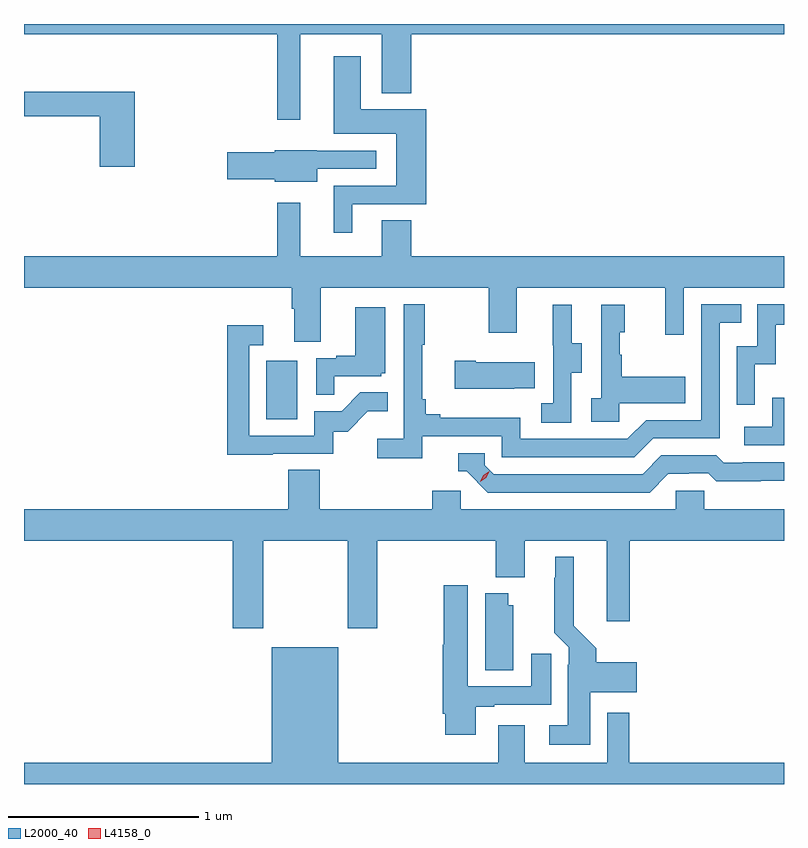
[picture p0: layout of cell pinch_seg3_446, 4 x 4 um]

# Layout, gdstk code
import gdstk
lib = gdstk.Library(unit=1e-6, precision=1e-09)
def R(c, l, rs):  # rectangles x0, y0, x1, y1
    for r in rs: c.add(gdstk.rectangle(r[:2], r[2:], *l))
def P(c, l, *ps):  # polygons
    for p in ps: c.add(gdstk.Polygon(p, *l))
L2000_40 = (2000, 40)
L4158_0 = (4158, 0)

pinch_seg3_446 = lib.new_cell('pinch_seg3_446')
R(pinch_seg3_446, L2000_40, [(948.314,685.572,948.478,685.879)])
P(pinch_seg3_446, L2000_40, [(948.493,687.596),(948.923,687.596),(948.923,687.287),(949.076,687.287),(949.076,687.596),(951.039,687.596),(951.039,687.651),(947.039,687.651),(947.039,687.596),(948.372,687.596),(948.372,687.147),(948.493,687.147)],
  [(948.766,686.703),(949.157,686.703),(949.157,687.202),(948.811,687.202),(948.811,687.481),(948.668,687.481),(948.668,687.074),(948.998,687.074),(948.998,686.799),(948.668,686.799),(948.668,686.553),(948.766,686.553)],
  [(947.621,687.295),(947.039,687.295),(947.039,687.166),(947.438,687.166),(947.438,686.901),(947.621,686.901)],
  [(948.583,686.889),(948.892,686.889),(948.892,686.985),(948.579,686.985),(948.579,686.986),(948.36,686.986),(948.36,686.975),(948.108,686.975),(948.108,686.833),(948.36,686.833),(948.36,686.822),(948.583,686.822)],
  [(948.601,686.264),(949.486,686.264),(949.486,686.025),(949.633,686.025),(949.633,686.264),(950.414,686.264),(950.414,686.016),(950.511,686.016),(950.511,686.264),(951.039,686.264),(951.039,686.428),(949.076,686.428),(949.076,686.618),(948.923,686.618),(948.923,686.428),(948.493,686.428),(948.493,686.71),(948.372,686.71),(948.372,686.428),(947.039,686.428),(947.039,686.264),(948.449,686.264),(948.449,686.152),(948.461,686.152),(948.461,685.978),(948.601,685.978)],
  [(949.136,685.482),(949.554,685.482),(949.554,685.371),(950.251,685.371),(950.35,685.47),(950.7,685.47),(950.7,686.079),(950.813,686.079),(950.813,686.175),(950.604,686.175),(950.604,685.566),(950.313,685.566),(950.214,685.467),(949.65,685.467),(949.65,685.579),(949.231,685.579),(949.231,685.598),(949.154,685.598),(949.154,685.675),(949.135,685.675),(949.135,685.963),(949.147,685.963),(949.147,686.176),(949.038,686.176),(949.038,685.468),(948.897,685.468),(948.897,685.366),(949.136,685.366)],
  [(950.886,685.859),(950.996,685.859),(950.996,686.067),(951.039,686.067),(951.039,686.175),(950.898,686.175),(950.898,685.956),(950.79,685.956),(950.79,685.647),(950.886,685.647)],
  [(949.92,685.816),(949.975,685.816),(949.975,685.971),(949.921,685.971),(949.921,686.173),(949.823,686.173),(949.823,685.959),(949.824,685.959),(949.824,685.655),(949.761,685.655),(949.761,685.552),(949.92,685.552)],
  [(950.172,685.655),(950.519,685.655),(950.519,685.795),(950.185,685.795),(950.185,685.91),(950.175,685.91),(950.175,686.028),(950.2,686.028),(950.2,686.173),(950.076,686.173),(950.076,685.682),(950.025,685.682),(950.025,685.557),(950.172,685.557)],
  [(948.671,685.797),(948.918,685.797),(948.918,685.812),(948.94,685.812),(948.94,686.161),(948.782,686.161),(948.782,685.906),(948.683,685.906),(948.683,685.893),(948.576,685.893),(948.576,685.699),(948.671,685.699)],
  [(948.347,685.389),(948.666,685.389),(948.666,685.506),(948.742,685.506),(948.849,685.613),(948.953,685.613),(948.953,685.712),(948.809,685.712),(948.711,685.614),(948.567,685.614),(948.567,685.485),(948.225,685.485),(948.225,685.959),(948.298,685.959),(948.298,686.065),(948.109,686.065),(948.109,685.384),(948.347,685.384)],
  [(949.619,685.733),(949.727,685.733),(949.727,685.87),(949.417,685.87),(949.417,685.878),(949.305,685.878),(949.305,685.73),(949.619,685.73)],
  [(951.039,685.684),(950.976,685.684),(950.976,685.53),(950.829,685.53),(950.829,685.434),(951.039,685.434)],
  [(950.431,685.284),(950.538,685.284),(950.538,685.287),(950.641,685.287),(950.683,685.245),(950.916,685.245),(950.916,685.247),(951.039,685.247),(951.039,685.344),(950.821,685.344),(950.821,685.341),(950.722,685.341),(950.683,685.38),(950.394,685.38),(950.295,685.281),(949.512,685.281),(949.464,685.329),(949.464,685.392),(949.325,685.392),(949.325,685.296),(949.368,685.296),(949.479,685.185),(950.332,685.185)],
  [(948.297,684.932),(948.742,684.932),(948.742,684.471),(948.897,684.471),(948.897,684.932),(949.523,684.932),(949.523,684.74),(949.675,684.74),(949.675,684.932),(950.105,684.932),(950.105,684.507),(950.228,684.507),(950.228,684.932),(951.039,684.932),(951.039,685.096),(950.619,685.096),(950.619,685.194),(950.469,685.194),(950.469,685.096),(949.338,685.096),(949.338,685.194),(949.187,685.194),(949.187,685.096),(948.596,685.096),(948.596,685.304),(948.431,685.304),(948.431,685.096),(947.039,685.096),(947.039,684.932),(948.137,684.932),(948.137,684.471),(948.297,684.471)],
  [(950.02,684.134),(950.263,684.134),(950.263,684.292),(950.051,684.292),(950.051,684.366),(949.933,684.484),(949.933,684.847),(949.835,684.847),(949.835,684.737),(949.831,684.737),(949.831,684.446),(949.905,684.372),(949.905,684.278),(949.901,684.278),(949.901,683.959),(949.803,683.959),(949.803,683.858),(950.02,683.858)],
  [(949.417,684.057),(949.513,684.057),(949.513,684.069),(949.813,684.069),(949.813,684.337),(949.709,684.337),(949.709,684.165),(949.375,684.165),(949.375,684.697),(949.249,684.697),(949.249,684.384),(949.244,684.384),(949.244,684.022),(949.256,684.022),(949.256,683.91),(949.417,683.91)],
  [(949.615,684.591),(949.588,684.591),(949.588,684.655),(949.466,684.655),(949.466,684.25),(949.615,684.25)],
  [(951.039,683.764),(950.225,683.764),(950.225,684.025),(950.109,684.025),(950.109,683.764),(949.675,683.764),(949.675,683.959),(949.535,683.959),(949.535,683.764),(948.694,683.764),(948.694,684.37),(948.344,684.37),(948.344,683.764),(947.039,683.764),(947.039,683.651),(951.039,683.651)])
P(pinch_seg3_446, L4158_0, [(949.441,685.243),(949.441,685.243),(949.456,685.276),(949.487,685.296),(949.487,685.296),(949.487,685.296),(949.471,685.263),(949.441,685.243)])

lib.write_gds('pinch_seg3_446.gds')
